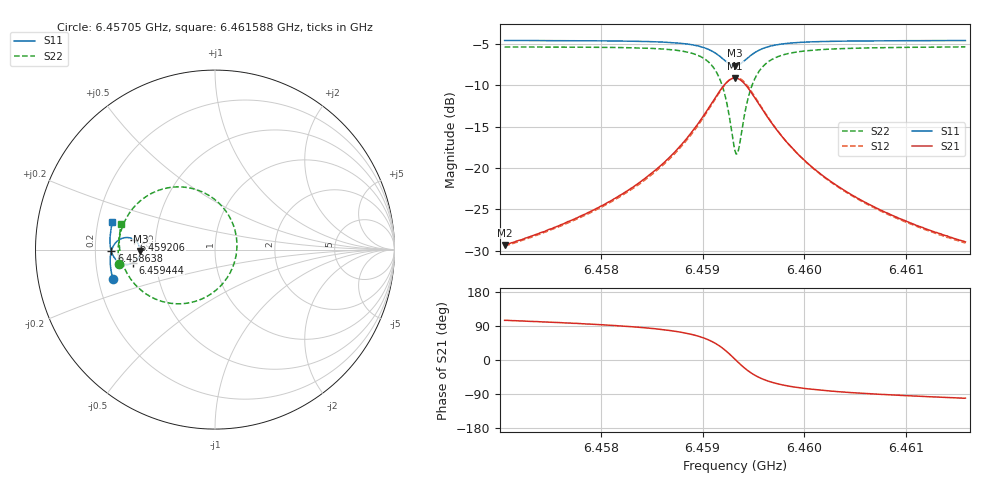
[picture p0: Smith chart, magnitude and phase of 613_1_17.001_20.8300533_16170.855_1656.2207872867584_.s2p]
#  HZ  S  RI  R  50.00
! Rohde & Schwarz Vector Network Analyzer
! Rohde-Schwarz,ZNB20-2Port,1311601062101988,3.16
! Created: UTC 3/20/2024, 11:19:36 PM
! freq[Hz]  re:S11  im:S11  re:S21  im:S21  re:S12  im:S12  re:S22  im:S22
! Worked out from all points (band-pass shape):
!   401 points, 6.45705 GHz to 6.461588 GHz, reference 50 ohm
!   highest |S21| = -9.10 dB at 6.459319 GHz (marker M1); lowest = -29.3 dB at 6.45705 GHz (marker M2)
!   |S21| within 3 dB of the highest: 6.459092 GHz to 6.459546 GHz (453.7 kHz wide, 0.00702 % of centre)
!   lowest |S11| = -7.6 dB at 6.459319 GHz (marker M3), VSWR 2.42, Z = 20.6 - j0.395 ohm
!   |S11| at or under -10 dB: nowhere
!   |S22| runs from -18.3 to -5.3 dB; largest |S21 - S12| = 0.014
!   S11 on the Smith chart (normalised r, x): 6.45705 GHz: 0.26, -0.13; 6.458638 GHz: 0.27, -0.01; 6.459206 GHz: 0.38, +0.05; 6.459444 GHz: 0.37, -0.07; 6.461588 GHz: 0.26, +0.12
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6.4570502e9  -0.5682 -0.1661  -0.00861 0.0331  -0.00683 0.0329  -0.5345 -0.0777
6.4578103e9  -0.5815 -0.0996  -0.00512 0.0513  -0.0026 0.0507  -0.5389 0.0121
6.4582414e9  -0.5839 -0.056  0.0012 0.0717  0.0046 0.0702  -0.5294 0.0818
6.4585703e9  -0.5798 -0.0162  0.0154 0.1002  0.0192 0.0973  -0.5032 0.1576
6.4586384e9  -0.5774 -0.00676  0.0208 0.1087  0.0248 0.1052  -0.4928 0.1778
6.4588313e9  -0.5643 0.0236  0.0479 0.1397  0.052 0.1347  -0.4417 0.2472
6.4589787e9  -0.5412 0.0499  0.0941 0.1703  0.0972 0.1635  -0.3564 0.3117
6.4591149e9  -0.4968 0.0671  0.1827 0.1864  0.1834 0.179  -0.1945 0.3493
6.4592056e9  -0.4517 0.0563  0.2735 0.1542  0.2736 0.1483  -0.0258 0.2968
6.4592737e9  -0.4225 0.0235  0.3343 0.0809  0.3365 0.0756  0.0905 0.1642
6.4593191e9  -0.4156 -0.00791  0.3506 0.012  0.3544 0.00497  0.1223 0.0349
6.4593531e9  -0.4197 -0.032  0.3441 -0.0412  0.3483 -0.0504  0.1098 -0.0661
6.4593985e9  -0.4357 -0.0583  0.3149 -0.1018  0.3172 -0.1139  0.0504 -0.1806
6.4594439e9  -0.4581 -0.0749  0.272 -0.1432  0.2712 -0.1566  -0.0367 -0.2562
6.4595346e9  -0.502 -0.0818  0.1858 -0.1742  0.1795 -0.1859  -0.209 -0.302
6.4596027e9  -0.5265 -0.0743  0.1368 -0.1718  0.1286 -0.181  -0.3036 -0.286
6.4596821e9  -0.5463 -0.0611  0.0967 -0.1595  0.0881 -0.1658  -0.3789 -0.2505
6.4598409e9  -0.5681 -0.0335  0.0515 -0.131  0.0436 -0.1337  -0.46 -0.1769
6.4600791e9  -0.5808 0.00218  0.0222 -0.0987  0.0161 -0.0993  -0.5081 -0.0932
6.4604422e9  -0.5854 0.0455  0.00529 -0.0702  0.00137 -0.0696  -0.53 -0.00906
6.4608392e9  -0.5834 0.0855  -0.00173 -0.0526  -0.00469 -0.0517  -0.5335 0.0549
6.4615879e9  -0.5713 0.1519  -0.00659 -0.0351  -0.00852 -0.0341  -0.5217 0.1444
